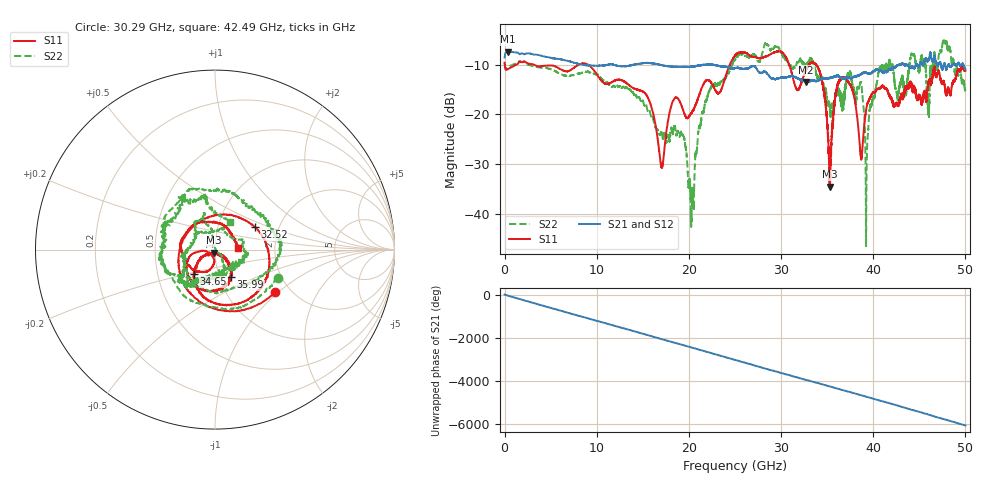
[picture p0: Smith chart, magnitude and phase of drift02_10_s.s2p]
!Created with skrf (http://scikit-rf.org).
# Hz S RI R 50.0
!freq ReS11 ImS11 ReS21 ImS21 ReS12 ImS12 ReS22 ImS22
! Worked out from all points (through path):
!   10001 points, 300 kHz to 50 GHz, reference 50 ohm
!   highest |S21| = -7.31 dB at 325.3 MHz (marker M1); lowest = -13.5 dB at 32.72 GHz (marker M2)
!   group delay of S21, straight-line fit = 335 ps
!   lowest |S11| = -34.6 dB at 35.27 GHz (marker M3), VSWR 1.04, Z = 49.5 - j1.78 ohm
!   |S11| at or under -10 dB: 3.232 GHz to 8.009 GHz (4.778 GHz wide, 85 % of centre); 9.103 GHz to 24.41 GHz (15.31 GHz wide, 91.4 % of centre); 33.83 GHz to end of sweep (the widest 3 of 10)
!   |S22| runs from -46.6 to -5.1 dB; largest |S21 - S12| = 0.014
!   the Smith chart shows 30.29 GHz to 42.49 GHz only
!   S11 on the Smith chart (normalised r, x): 30.29 GHz: 1.67, -0.95; 32.52 GHz: 1.51, +0.40; 34.65 GHz: 0.77, -0.21; 35.99 GHz: 1.14, -0.36; 42.49 GHz: 1.29, +0.02
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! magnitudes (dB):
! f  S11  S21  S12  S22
! 300 kHz  -9.6  -8.5  -8.5  -9.5
! 325.3 MHz  -10.9  -7.3  -7.3  -10.5
! 8.335 GHz  -9.7  -9.9  -9.9  -11.6
! 16.67 GHz  -25.8  -9.9  -9.9  -23.3
! 19.32 GHz  -18.8  -10.4  -10.4  -24.1
! 20.34 GHz  -19.5  -10.3  -10.4  -36.7
! 21.94 GHz  -13.1  -10.0  -10.0  -16.9
! 25 GHz  -8.1  -10.6  -10.7  -8.9
! 30.29 GHz  -7.7  -12.6  -12.6  -8.3
! 32.52 GHz  -11.8  -13.2  -13.3  -9.9
! 32.72 GHz  -11.0  -13.5  -13.5  -10.5
! 33.34 GHz  -9.5  -13.1  -13.2  -8.8
! 34.65 GHz  -15.0  -12.8  -12.7  -14.2
! 35.27 GHz  -34.6  -12.6  -12.6  -18.0
! 35.99 GHz  -15.0  -12.3  -12.2  -15.8
! 37.56 GHz  -14.2  -12.7  -12.8  -12.0
! 38.58 GHz  -26.9  -12.0  -12.0  -13.7
! 39.3 GHz  -18.4  -11.6  -11.7  -29.0
! 41.67 GHz  -15.9  -10.9  -11.1  -9.7
! 42.49 GHz  -17.8  -10.3  -10.3  -15.2
! 47.76 GHz  -14.2  -9.7  -9.7  -5.3
! 50 GHz  -11.2  -10.9  -10.9  -14.9
